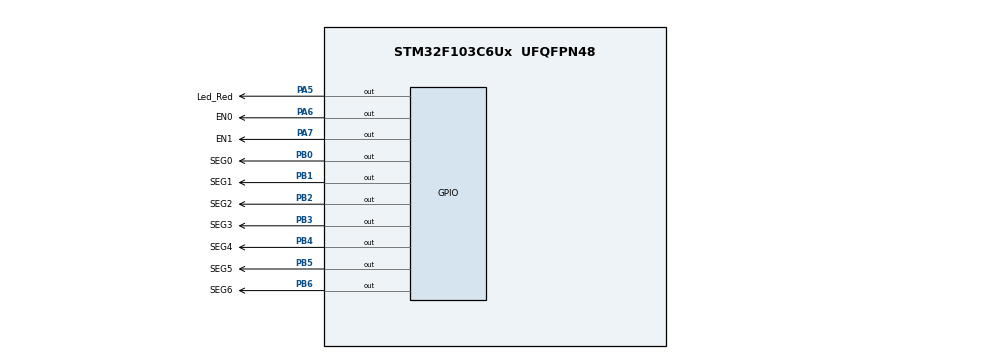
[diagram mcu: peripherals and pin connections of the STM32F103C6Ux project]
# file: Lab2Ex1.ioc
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Mcu.Family=STM32F1
Mcu.Name=STM32F103C6Ux
Mcu.Package=UFQFPN48
NVIC.PriorityGroup=NVIC_PRIORITYGROUP_4
NVIC.TIM2_IRQn=true\:0\:0\:false\:false\:true\:true\:true
PA5.GPIO_Label=Led_Red
PA5.Signal=GPIO_Output
PA6.GPIO_Label=EN0
PA6.Signal=GPIO_Output
PA7.GPIO_Label=EN1
PA7.Signal=GPIO_Output
PB0.GPIO_Label=SEG0
PB0.Signal=GPIO_Output
PB1.GPIO_Label=SEG1
PB1.Signal=GPIO_Output
PB2.GPIO_Label=SEG2
PB2.Signal=GPIO_Output
PB3.GPIO_Label=SEG3
PB3.Signal=GPIO_Output
PB4.GPIO_Label=SEG4
PB4.Signal=GPIO_Output
PB5.GPIO_Label=SEG5
PB5.Signal=GPIO_Output
PB6.GPIO_Label=SEG6
PB6.Signal=GPIO_Output
ProjectManager.HeapSize=0x200
ProjectManager.StackSize=0x400
ProjectManager.TargetToolchain=STM32CubeIDE
RCC.APB1Freq_Value=8000000
RCC.APB2Freq_Value=8000000
TIM2.Period=9
TIM2.Prescaler=7999
VP_SYS_VS_ND.Mode=No_Debug
VP_TIM2_VS_ClockSourceINT.Mode=Internal
board=custom

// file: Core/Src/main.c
/* USER CODE BEGIN Header */
/**
  ******************************************************************************
  * @file           : main.c
  * @brief          : Main program body
  ******************************************************************************
  * @attention
  *
  * <h2><center>&copy; Copyright (c) 2026 STMicroelectronics.
  * All rights reserved.</center></h2>
  *
  * This software component is licensed by ST under BSD 3-Clause license,
  * the "License"; You may not use this file except in compliance with the
  * License. You may obtain a copy of the License at:
  *                        opensource.org/licenses/BSD-3-Clause
  *
  ******************************************************************************
  */
/* USER CODE END Header */
#include "main.h"

TIM_HandleTypeDef htim2;

void SystemClock_Config(void);
static void MX_GPIO_Init(void);
static void MX_TIM2_Init(void);

/* USER CODE BEGIN 0 */
void display7SEG(int num)
{
    switch (num)
    {
    case 0:
        HAL_GPIO_WritePin(GPIOB, SEG0_Pin, GPIO_PIN_RESET);
        HAL_GPIO_WritePin(GPIOB, SEG1_Pin, GPIO_PIN_RESET);
        HAL_GPIO_WritePin(GPIOB, SEG2_Pin, GPIO_PIN_RESET);
        HAL_GPIO_WritePin(GPIOB, SEG3_Pin, GPIO_PIN_RESET);
        HAL_GPIO_WritePin(GPIOB, SEG4_Pin, GPIO_PIN_RESET);
        HAL_GPIO_WritePin(GPIOB, SEG5_Pin, GPIO_PIN_RESET);
        HAL_GPIO_WritePin(GPIOB, SEG6_Pin, GPIO_PIN_SET);
        break;

    case 1:
        HAL_GPIO_WritePin(GPIOB, SEG0_Pin, GPIO_PIN_SET);
        HAL_GPIO_WritePin(GPIOB, SEG1_Pin, GPIO_PIN_RESET);
        HAL_GPIO_WritePin(GPIOB, SEG2_Pin, GPIO_PIN_RESET);
        HAL_GPIO_WritePin(GPIOB, SEG3_Pin, GPIO_PIN_SET);
        HAL_GPIO_WritePin(GPIOB, SEG4_Pin, GPIO_PIN_SET);
        HAL_GPIO_WritePin(GPIOB, SEG5_Pin, GPIO_PIN_SET);
        HAL_GPIO_WritePin(GPIOB, SEG6_Pin, GPIO_PIN_SET);
        break;

    case 2:
        HAL_GPIO_WritePin(GPIOB, SEG0_Pin, GPIO_PIN_RESET);
        HAL_GPIO_WritePin(GPIOB, SEG1_Pin, GPIO_PIN_RESET);
        HAL_GPIO_WritePin(GPIOB, SEG2_Pin, GPIO_PIN_SET);
        HAL_GPIO_WritePin(GPIOB, SEG3_Pin, GPIO_PIN_RESET);
        HAL_GPIO_WritePin(GPIOB, SEG4_Pin, GPIO_PIN_RESET);
        HAL_GPIO_WritePin(GPIOB, SEG5_Pin, GPIO_PIN_SET);
        HAL_GPIO_WritePin(GPIOB, SEG6_Pin, GPIO_PIN_RESET);
        break;

    case 3:
        HAL_GPIO_WritePin(GPIOB, SEG0_Pin, GPIO_PIN_RESET);
        HAL_GPIO_WritePin(GPIOB, SEG1_Pin, GPIO_PIN_RESET);
        HAL_GPIO_WritePin(GPIOB, SEG2_Pin, GPIO_PIN_RESET);
        HAL_GPIO_WritePin(GPIOB, SEG3_Pin, GPIO_PIN_RESET);
        HAL_GPIO_WritePin(GPIOB, SEG4_Pin, GPIO_PIN_SET);
        HAL_GPIO_WritePin(GPIOB, SEG5_Pin, GPIO_PIN_SET);
        HAL_GPIO_WritePin(GPIOB, SEG6_Pin, GPIO_PIN_RESET);
        break;

    case 4:
        HAL_GPIO_WritePin(GPIOB, SEG0_Pin, GPIO_PIN_SET);
        HAL_GPIO_WritePin(GPIOB, SEG1_Pin, GPIO_PIN_RESET);
        HAL_GPIO_WritePin(GPIOB, SEG2_Pin, GPIO_PIN_RESET);
        HAL_GPIO_WritePin(GPIOB, SEG3_Pin, GPIO_PIN_SET);
        HAL_GPIO_WritePin(GPIOB, SEG4_Pin, GPIO_PIN_SET);
        HAL_GPIO_WritePin(GPIOB, SEG5_Pin, GPIO_PIN_RESET);
        HAL_GPIO_WritePin(GPIOB, SEG6_Pin, GPIO_PIN_RESET);
        break;

    case 5:
        HAL_GPIO_WritePin(GPIOB, SEG0_Pin, GPIO_PIN_RESET);
        HAL_GPIO_WritePin(GPIOB, SEG1_Pin, GPIO_PIN_SET);
        HAL_GPIO_WritePin(GPIOB, SEG2_Pin, GPIO_PIN_RESET);
        HAL_GPIO_WritePin(GPIOB, SEG3_Pin, GPIO_PIN_RESET);
        HAL_GPIO_WritePin(GPIOB, SEG4_Pin, GPIO_PIN_SET);
        HAL_GPIO_WritePin(GPIOB, SEG5_Pin, GPIO_PIN_RESET);
        HAL_GPIO_WritePin(GPIOB, SEG6_Pin, GPIO_PIN_RESET);
        break;

    case 6:
        HAL_GPIO_WritePin(GPIOB, SEG0_Pin, GPIO_PIN_RESET);
        HAL_GPIO_WritePin(GPIOB, SEG1_Pin, GPIO_PIN_SET);
        HAL_GPIO_WritePin(GPIOB, SEG2_Pin, GPIO_PIN_RESET);
        HAL_GPIO_WritePin(GPIOB, SEG3_Pin, GPIO_PIN_RESET);
        HAL_GPIO_WritePin(GPIOB, SEG4_Pin, GPIO_PIN_RESET);
        HAL_GPIO_WritePin(GPIOB, SEG5_Pin, GPIO_PIN_RESET);
        HAL_GPIO_WritePin(GPIOB, SEG6_Pin, GPIO_PIN_RESET);
        break;

    case 7:
        HAL_GPIO_WritePin(GPIOB, SEG0_Pin, GPIO_PIN_RESET);
        HAL_GPIO_WritePin(GPIOB, SEG1_Pin, GPIO_PIN_RESET);
        HAL_GPIO_WritePin(GPIOB, SEG2_Pin, GPIO_PIN_RESET);
        HAL_GPIO_WritePin(GPIOB, SEG3_Pin, GPIO_PIN_SET);
        HAL_GPIO_WritePin(GPIOB, SEG4_Pin, GPIO_PIN_SET);
        HAL_GPIO_WritePin(GPIOB, SEG5_Pin, GPIO_PIN_SET);
        HAL_GPIO_WritePin(GPIOB, SEG6_Pin, GPIO_PIN_SET);
        break;

    case 8:
        HAL_GPIO_WritePin(GPIOB, SEG0_Pin, GPIO_PIN_RESET);
        HAL_GPIO_WritePin(GPIOB, SEG1_Pin, GPIO_PIN_RESET);
        HAL_GPIO_WritePin(GPIOB, SEG2_Pin, GPIO_PIN_RESET);
        HAL_GPIO_WritePin(GPIOB, SEG3_Pin, GPIO_PIN_RESET);
        HAL_GPIO_WritePin(GPIOB, SEG4_Pin, GPIO_PIN_RESET);
        HAL_GPIO_WritePin(GPIOB, SEG5_Pin, GPIO_PIN_RESET);
        HAL_GPIO_WritePin(GPIOB, SEG6_Pin, GPIO_PIN_RESET);
        break;

    case 9:
        HAL_GPIO_WritePin(GPIOB, SEG0_Pin, GPIO_PIN_RESET);
        HAL_GPIO_WritePin(GPIOB, SEG1_Pin, GPIO_PIN_RESET);
        HAL_GPIO_WritePin(GPIOB, SEG2_Pin, GPIO_PIN_RESET);
        HAL_GPIO_WritePin(GPIOB, SEG3_Pin, GPIO_PIN_RESET);
        HAL_GPIO_WritePin(GPIOB, SEG4_Pin, GPIO_PIN_SET);
        HAL_GPIO_WritePin(GPIOB, SEG5_Pin, GPIO_PIN_RESET);
        HAL_GPIO_WritePin(GPIOB, SEG6_Pin, GPIO_PIN_RESET);
        break;
    }
}
/* USER CODE END 0 */
int main(void)
{

  /* MCU Configuration--------------------------------------------------------*/

  /* Reset of all peripherals, Initializes the Flash interface and the Systick. */
  HAL_Init();

  /* Configure the system clock */
  SystemClock_Config();

  /* Initialize all configured peripherals */
  MX_GPIO_Init();
  MX_TIM2_Init();
  /* USER CODE BEGIN 2 */
  HAL_TIM_Base_Start_IT(&htim2);
  /* USER CODE END 2 */

  /* Infinite loop */
  while (1)
  {

  }
}

void SystemClock_Config(void)
{
  RCC_OscInitTypeDef RCC_OscInitStruct = {0};
  RCC_ClkInitTypeDef RCC_ClkInitStruct = {0};

  /** Initializes the RCC Oscillators according to the specified parameters
  * in the RCC_OscInitTypeDef structure.
  */
  RCC_OscInitStruct.OscillatorType = RCC_OSCILLATORTYPE_HSI;
  RCC_OscInitStruct.HSIState = RCC_HSI_ON;
  RCC_OscInitStruct.HSICalibrationValue = RCC_HSICALIBRATION_DEFAULT;
  RCC_OscInitStruct.PLL.PLLState = RCC_PLL_NONE;
  if (HAL_RCC_OscConfig(&RCC_OscInitStruct) != HAL_OK)
  {
    Error_Handler();
  }
  /** Initializes the CPU, AHB and APB buses clocks
  */
  RCC_ClkInitStruct.ClockType = RCC_CLOCKTYPE_HCLK|RCC_CLOCKTYPE_SYSCLK
                              |RCC_CLOCKTYPE_PCLK1|RCC_CLOCKTYPE_PCLK2;
  RCC_ClkInitStruct.SYSCLKSource = RCC_SYSCLKSOURCE_HSI;
  RCC_ClkInitStruct.AHBCLKDivider = RCC_SYSCLK_DIV1;
  RCC_ClkInitStruct.APB1CLKDivider = RCC_HCLK_DIV1;
  RCC_ClkInitStruct.APB2CLKDivider = RCC_HCLK_DIV1;

  if (HAL_RCC_ClockConfig(&RCC_ClkInitStruct, FLASH_LATENCY_0) != HAL_OK)
  {
    Error_Handler();
  }
}

static void MX_TIM2_Init(void)
{

  TIM_ClockConfigTypeDef sClockSourceConfig = {0};
  TIM_MasterConfigTypeDef sMasterConfig = {0};

  htim2.Instance = TIM2;
  htim2.Init.Prescaler = 7999;
  htim2.Init.CounterMode = TIM_COUNTERMODE_UP;
  htim2.Init.Period = 9;
  htim2.Init.ClockDivision = TIM_CLOCKDIVISION_DIV1;
  htim2.Init.AutoReloadPreload = TIM_AUTORELOAD_PRELOAD_DISABLE;
  if (HAL_TIM_Base_Init(&htim2) != HAL_OK)
  {
    Error_Handler();
  }
  sClockSourceConfig.ClockSource = TIM_CLOCKSOURCE_INTERNAL;
  if (HAL_TIM_ConfigClockSource(&htim2, &sClockSourceConfig) != HAL_OK)
  {
    Error_Handler();
  }
  sMasterConfig.MasterOutputTrigger = TIM_TRGO_RESET;
  sMasterConfig.MasterSlaveMode = TIM_MASTERSLAVEMODE_DISABLE;
  if (HAL_TIMEx_MasterConfigSynchronization(&htim2, &sMasterConfig) != HAL_OK)
  {
    Error_Handler();
  }

}

static void MX_GPIO_Init(void)
{
  GPIO_InitTypeDef GPIO_InitStruct = {0};

  /* GPIO Ports Clock Enable */
  __HAL_RCC_GPIOA_CLK_ENABLE();
  __HAL_RCC_GPIOB_CLK_ENABLE();

  /*Configure GPIO pin Output Level */
  HAL_GPIO_WritePin(GPIOA, Led_Red_Pin|EN0_Pin|EN1_Pin, GPIO_PIN_RESET);

  /*Configure GPIO pin Output Level */
  HAL_GPIO_WritePin(GPIOB, SEG0_Pin|SEG1_Pin|SEG2_Pin|SEG3_Pin
                          |SEG4_Pin|SEG5_Pin|SEG6_Pin, GPIO_PIN_RESET);

  /*Configure GPIO pins : Led_Red_Pin EN0_Pin EN1_Pin */
  GPIO_InitStruct.Pin = Led_Red_Pin|EN0_Pin|EN1_Pin;
  GPIO_InitStruct.Mode = GPIO_MODE_OUTPUT_PP;
  GPIO_InitStruct.Pull = GPIO_NOPULL;
  GPIO_InitStruct.Speed = GPIO_SPEED_FREQ_LOW;
  HAL_GPIO_Init(GPIOA, &GPIO_InitStruct);

  /*Configure GPIO pins : SEG0_Pin SEG1_Pin SEG2_Pin SEG3_Pin
                           SEG4_Pin SEG5_Pin SEG6_Pin */
  GPIO_InitStruct.Pin = SEG0_Pin|SEG1_Pin|SEG2_Pin|SEG3_Pin
                          |SEG4_Pin|SEG5_Pin|SEG6_Pin;
  GPIO_InitStruct.Mode = GPIO_MODE_OUTPUT_PP;
  GPIO_InitStruct.Pull = GPIO_NOPULL;
  GPIO_InitStruct.Speed = GPIO_SPEED_FREQ_LOW;
  HAL_GPIO_Init(GPIOB, &GPIO_InitStruct);

}

/* USER CODE BEGIN 4 */
int counter = 50;
int display = 0;

void HAL_TIM_PeriodElapsedCallback(TIM_HandleTypeDef *htim)
{
    counter--;

    if (counter <= 0)
    {
        counter = 50;
        display = !display;

        if (display == 0)
        {
            HAL_GPIO_WritePin(GPIOA, EN0_Pin, GPIO_PIN_SET);
            HAL_GPIO_WritePin(GPIOA, EN1_Pin, GPIO_PIN_RESET);
            display7SEG(2);
        }
        else
        {
            HAL_GPIO_WritePin(GPIOA, EN0_Pin, GPIO_PIN_RESET);
            HAL_GPIO_WritePin(GPIOA, EN1_Pin, GPIO_PIN_SET);
            display7SEG(1);
        }
    }
}
/* USER CODE END 4 */

void Error_Handler(void)
{
  __disable_irq();
  while (1)
  {
  }
}

/************************ (C) COPYRIGHT STMicroelectronics *****END OF FILE****/
